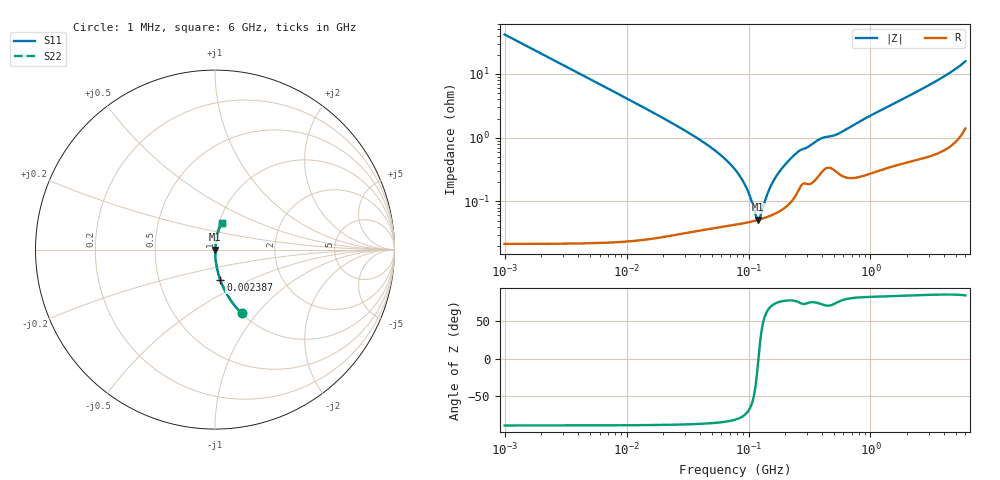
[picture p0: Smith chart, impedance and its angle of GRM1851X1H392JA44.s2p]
!Murata Part Number: GRM1851X1H392JA44
!These Parameters are Measured in Series Mode Connection
!Data Generated on Mar 30, 2021
!  o--ll--o
!Port1  Port2
!  o------o
!Operation Temp=25[degC], DC Bias Voltage=0[V]
!Freq. Start=1000[kHz] Stop=6[GHz] 401[Steps]
# Hz S RI R 50
!Freq.(Hz) S11(Real) S11(Imag) S21(Real) S21(Imag) S12(Real) S12(Imag) S22(Real) S22(Imag)
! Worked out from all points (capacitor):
!   401 points, 1 MHz to 6 GHz, reference 50 ohm
!   read as one part in series: C = 3.81 nF near 1.044 MHz
!   lowest |Z| = 51.3 mohm at 119.7 MHz (marker M1)
!   series resonance near 120.6 MHz, so ESL is about 460 pH
!   S11 on the Smith chart (normalised r, x): 1 MHz: 1.00, -0.84; 2.387 MHz: 1.00, -0.35; 6 GHz: 1.03, +0.32
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1000000  0.1486 -0.3554  0.8514 0.3554  0.8514 0.3554  0.1486 -0.3554
2386795  0.0299 -0.1696  0.9701 0.1696  0.9701 0.1696  0.0299 -0.1696
4293785  0.00955 -0.0962  0.9904 0.0962  0.9904 0.0962  0.00955 -0.0962
1.843659e7  0.000753 -0.022  0.9992 0.022  0.9992 0.022  0.000753 -0.022
4.697123e7  0.000422 -0.00747  0.9996 0.00747  0.9996 0.00747  0.000422 -0.00747
6.23192e7  0.000423 -0.00486  0.9996 0.00486  0.9996 0.00486  0.000423 -0.00486
7.745967e7  0.000437 -0.00314  0.9996 0.00314  0.9996 0.00314  0.000437 -0.00314
9.420718e7  0.000461 -0.00171  0.9995 0.00171  0.9995 0.00171  0.000461 -0.00171
1.027698e8  0.000476 -0.0011  0.9995 0.0011  0.9995 0.0011  0.000476 -0.0011
1.145757e8  0.000499 -0.000351  0.9995 0.000351  0.9995 0.000351  0.000499 -0.000351
1.196694e8  0.000511 -5.11e-05  0.9995 5.11e-05  0.9995 5.11e-05  0.000511 -5.11e-05
1.249896e8  0.000523 0.000249  0.9995 -0.000249  0.9995 -0.000249  0.000523 0.000249
1.39348e8  0.000561 0.001  0.9994 -0.001  0.9994 -0.001  0.000561 0.001
1.520136e8  0.000599 0.00162  0.9994 -0.00162  0.9994 -0.00162  0.000599 0.00162
1.809028e8  0.000712 0.00291  0.9993 -0.00291  0.9993 -0.00291  0.000712 0.00291
2.506837e8  0.00139 0.0057  0.9986 -0.0057  0.9986 -0.0057  0.00139 0.0057
3.325952e8  0.00201 0.00768  0.998 -0.00768  0.998 -0.00768  0.00201 0.00768
4.045054e8  0.00305 0.0094  0.997 -0.0094  0.997 -0.0094  0.00305 0.0094
5.484786e8  0.00283 0.0112  0.9972 -0.0112  0.9972 -0.0112  0.00283 0.0112
1.428092e9  0.00437 0.0311  0.9956 -0.0311  0.9956 -0.0311  0.00437 0.0311
3.483508e9  0.0115 0.0766  0.9885 -0.0766  0.9885 -0.0766  0.0115 0.0766
6e9  0.0372 0.1501  0.9628 -0.1501  0.9628 -0.1501  0.0372 0.1501
